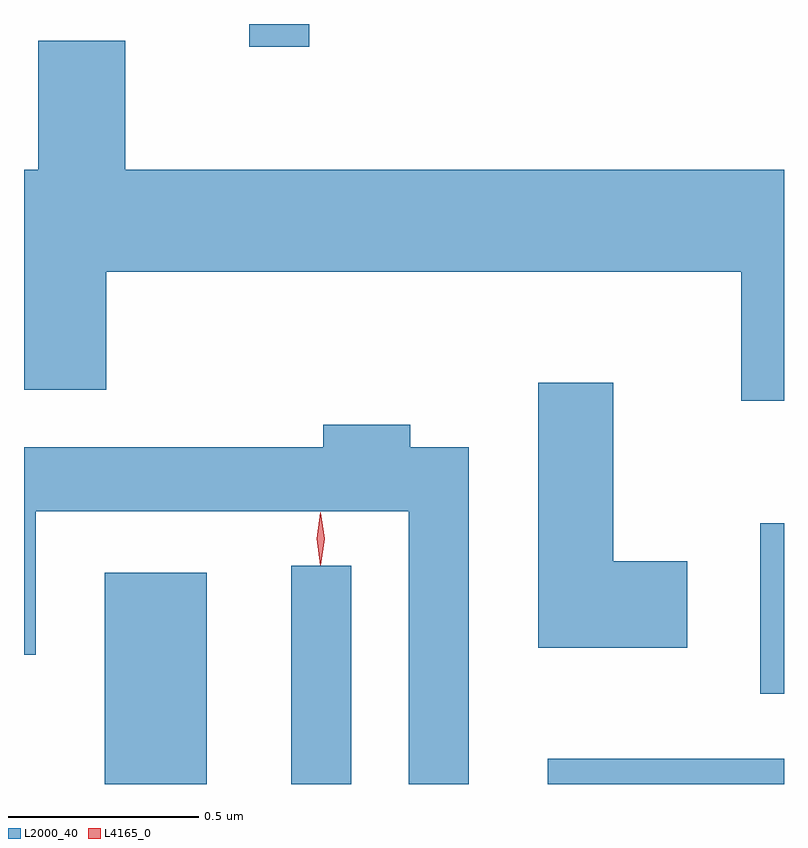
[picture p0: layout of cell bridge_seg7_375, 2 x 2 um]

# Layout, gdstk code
import gdstk
lib = gdstk.Library(unit=1e-6, precision=1e-09)
def R(c, l, rs):  # rectangles x0, y0, x1, y1
    for r in rs: c.add(gdstk.rectangle(r[:2], r[2:], *l))
def P(c, l, *ps):  # polygons
    for p in ps: c.add(gdstk.Polygon(p, *l))
L2000_40 = (2000, 40)
L4165_0 = (4165, 0)

bridge_seg7_375 = lib.new_cell('bridge_seg7_375')
R(bridge_seg7_375, L2000_40, [(1196.506,1755.148,1196.774,1755.704), (1196.996,1755.148,1197.154,1755.723), (1197.671,1755.148,1198.293,1755.214), (1198.231,1755.386,1198.293,1755.834), (1196.886,1757.088,1197.044,1757.148)])
P(bridge_seg7_375, L2000_40, [(1198.293,1756.764),(1196.559,1756.764),(1196.559,1757.104),(1196.331,1757.104),(1196.331,1756.764),(1196.293,1756.764),(1196.293,1756.186),(1196.509,1756.186),(1196.509,1756.496),(1198.181,1756.496),(1198.181,1756.156),(1198.293,1756.156)],
  [(1198.039,1755.734),(1197.844,1755.734),(1197.844,1756.204),(1197.646,1756.204),(1197.646,1755.506),(1198.039,1755.506)],
  [(1197.464,1756.034),(1197.309,1756.034),(1197.309,1756.094),(1197.081,1756.094),(1197.081,1756.034),(1196.293,1756.034),(1196.293,1755.488),(1196.324,1755.488),(1196.324,1755.866),(1197.306,1755.866),(1197.306,1755.148),(1197.464,1755.148)])
P(bridge_seg7_375, L4165_0, [(1197.073,1755.724),(1197.064,1755.793),(1197.073,1755.862),(1197.074,1755.863),(1197.074,1755.862),(1197.084,1755.793),(1197.074,1755.724),(1197.074,1755.724)],
  [(1197.073,1755.727),(1197.064,1755.794),(1197.073,1755.86),(1197.074,1755.86),(1197.074,1755.86),(1197.084,1755.794),(1197.074,1755.727),(1197.074,1755.727)])

lib.write_gds('bridge_seg7_375.gds')
